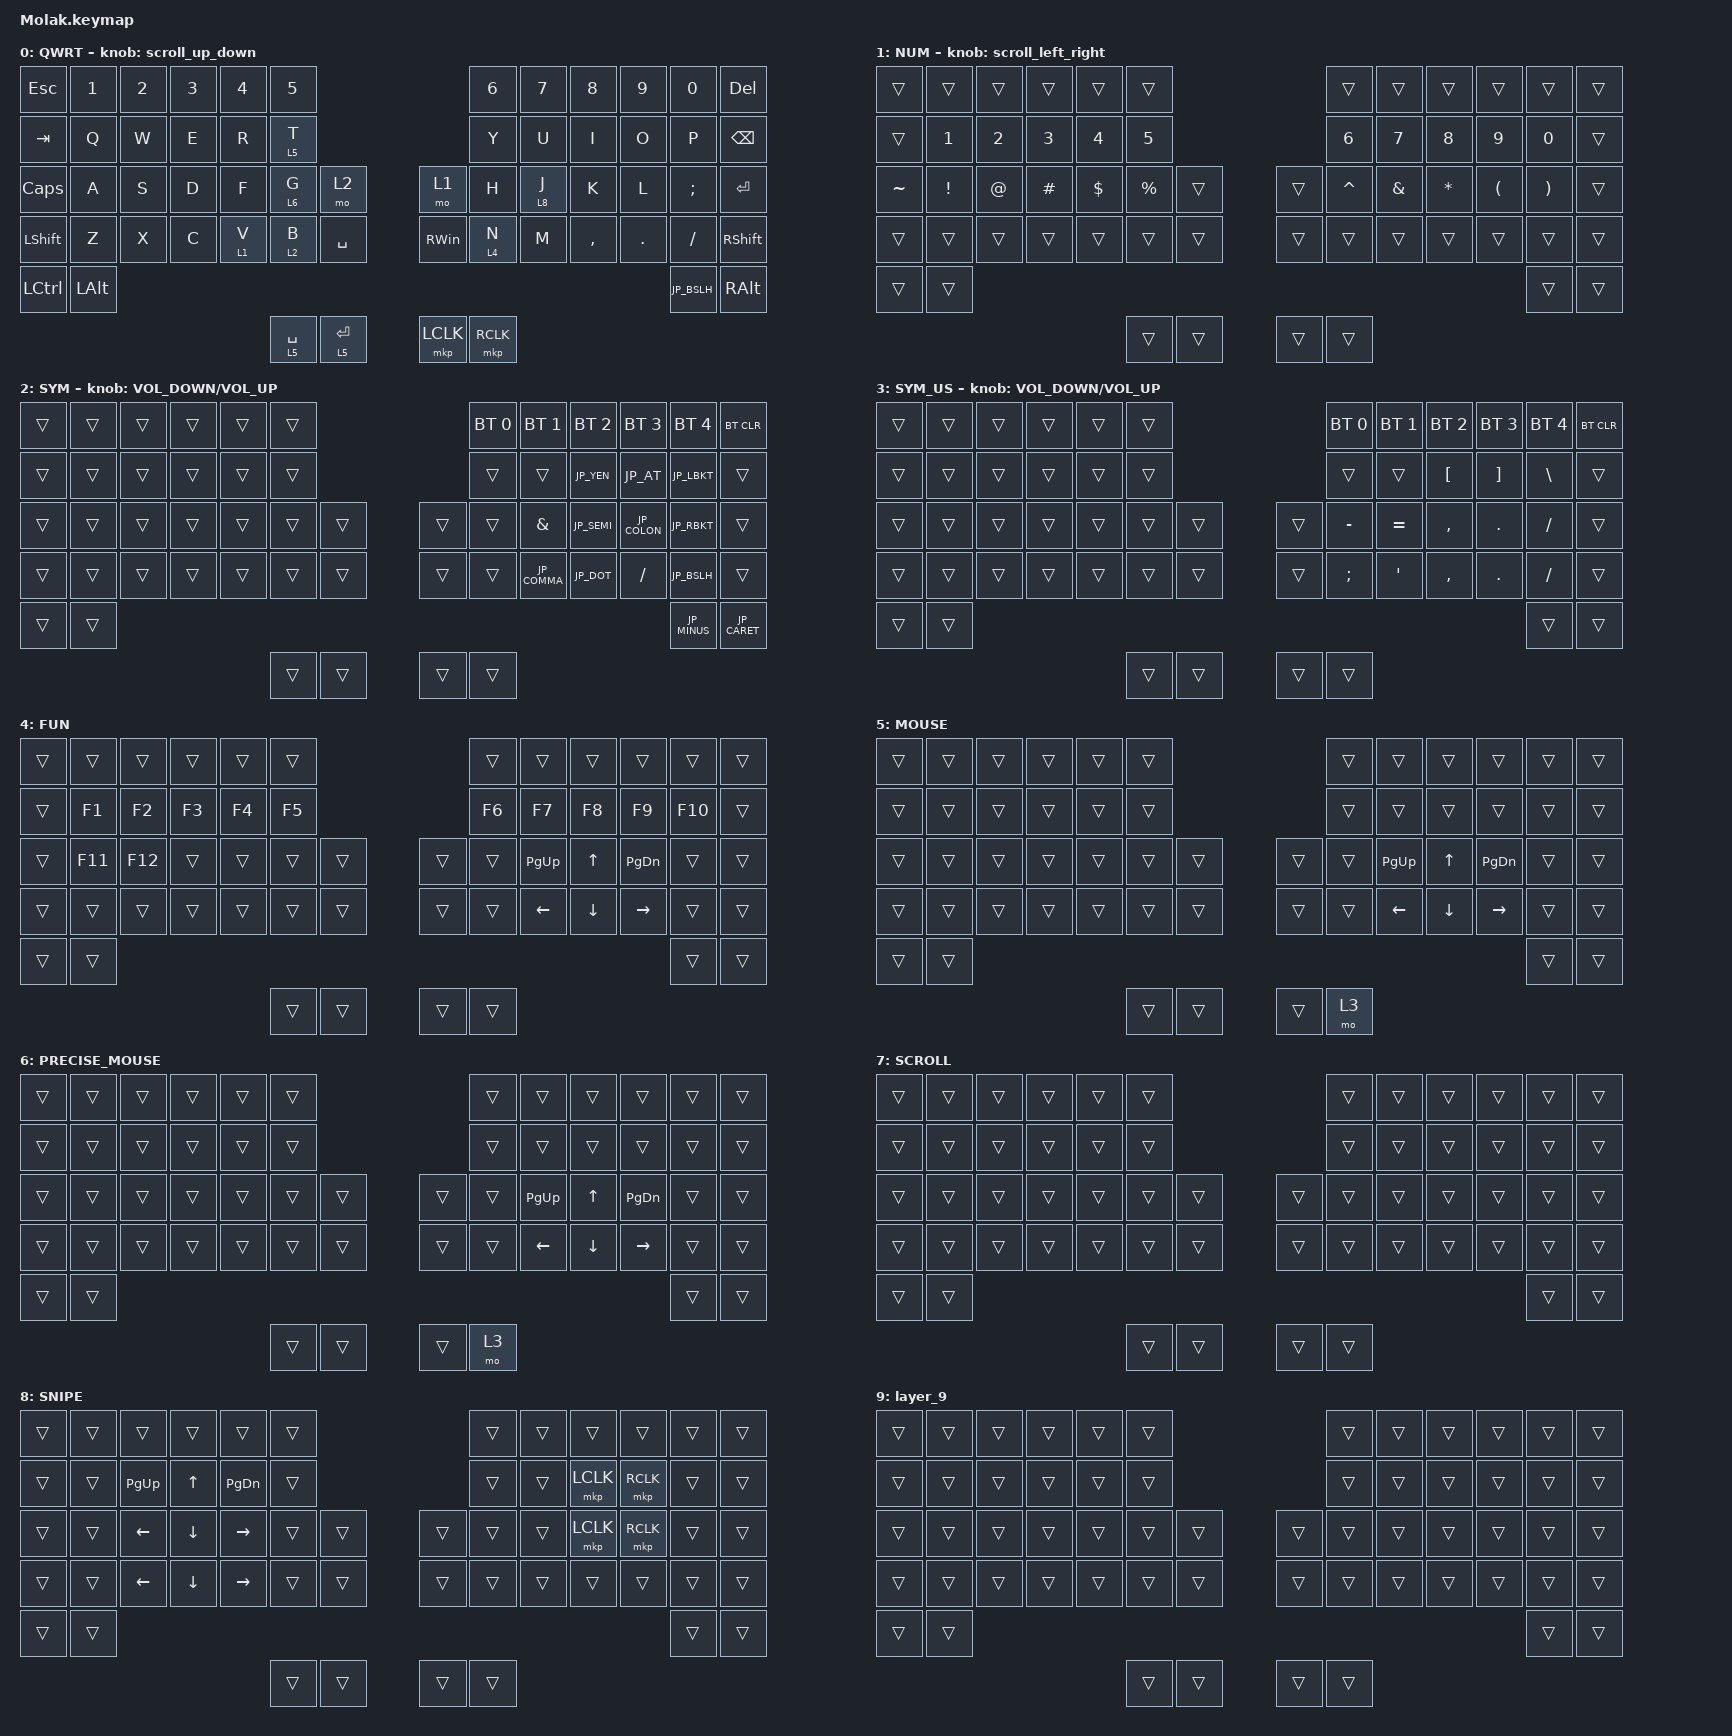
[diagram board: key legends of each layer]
#define DEFAULT 0
#define NUM     1
#define SYM     2
#define SYM_US  3
#define FUN     4
#define MOUSE   5
#define PRECISE_MOUSE 6
#define SCROLL  7
#define SNIPE   8

#include <behaviors/mouse_keys.dtsi>
#include <dt-bindings/zmk/mouse.h>

#define ZMK_POINTING_DEFAULT_SCRL_VAL 120

#include <behaviors.dtsi>
#include <dt-bindings/zmk/bt.h>
#include <dt-bindings/zmk/keys.h>
#include <dt-bindings/zmk/pointing.h>
#include "keycode_jp.h"

&lt {
    tapping-term-ms = <240>;
    flavor = "balanced";
    quick-tap-ms = <150>;
};

&mt {
    tapping-term-ms = <200>;
    flavor = "tap-preferred";
    quick-tap-ms = <150>;
};

/ {
    keymap {
        compatible = "zmk,keymap";

        default_layer {
            label = "QWRT";
            bindings = <
&kp ESC         &kp N1    &kp N2  &kp N3  &kp N4   &kp N5                               &kp N6     &kp N7   &kp N8     &kp N9   &kp N0       &kp DELETE
&kp TAB         &kp Q     &kp W   &kp E   &kp R    &lt 5 T                              &kp Y      &kp U    &kp I      &kp O    &kp P        &kp BSPC
&kp CAPS        &kp A     &kp S   &kp D   &kp F    &lt 6 G      &mo 2        &mo 1      &kp H      &lt 8 J  &kp K      &kp L    &kp SEMI     &kp ENTER
&kp LEFT_SHIFT  &kp Z     &kp X   &kp C   &lt 1 V  &lt 2 B      &kp SPACE    &kp RWIN   &lt 4 N    &kp M    &kp COMMA  &kp DOT  &kp FSLH     &kp RIGHT_SHIFT
&kp LCTL        &kp LALT                           &lt 5 SPACE  &lt 5 ENTER  &mkp LCLK  &mkp RCLK                               &kp JP_BSLH  &kp RIGHT_ALT
            >;

            sensor-bindings = <&scroll_up_down>;
        };

        number_layer {
            bindings = <
&trans     &trans           &trans       &trans    &trans      &trans                       &trans     &trans         &trans        &trans                &trans                 &trans
&trans     &kp N1           &kp N2       &kp N3    &kp N4      &kp N5                       &kp N6     &kp N7         &kp N8        &kp N9                &kp N0                 &trans
&kp TILDE  &kp EXCLAMATION  &kp AT_SIGN  &kp HASH  &kp DOLLAR  &kp PERCENT  &trans  &trans  &kp CARET  &kp AMPERSAND  &kp ASTERISK  &kp LEFT_PARENTHESIS  &kp RIGHT_PARENTHESIS  &trans
&trans     &trans           &trans       &trans    &trans      &trans       &trans  &trans  &trans     &trans         &trans        &trans                &trans                 &trans
&trans     &trans                                              &trans       &trans  &trans  &trans                                                        &trans                 &trans
            >;

            sensor-bindings = <&scroll_left_right>;
            label = "NUM";
        };

        symbol_layer {
            label = "SYM";
            bindings = <
&trans  &trans  &trans  &trans  &trans  &trans                  &bt BT_SEL 0  &bt BT_SEL 1   &bt BT_SEL 2  &bt BT_SEL 3  &bt BT_SEL 4  &bt BT_CLR
&trans  &trans  &trans  &trans  &trans  &trans                  &trans        &trans         &kp JP_YEN    &kp JP_AT     &kp JP_LBKT   &trans
&trans  &trans  &trans  &trans  &trans  &trans  &trans  &trans  &trans        &kp AMPERSAND  &kp JP_SEMI   &kp JP_COLON  &kp JP_RBKT   &trans
&trans  &trans  &trans  &trans  &trans  &trans  &trans  &trans  &trans        &kp JP_COMMA   &kp JP_DOT    &kp SLASH     &kp JP_BSLH   &trans
&trans  &trans                          &trans  &trans  &trans  &trans                                                   &kp JP_MINUS  &kp JP_CARET
            >;

            sensor-bindings = <&inc_dec_kp C_VOLUME_DOWN C_VOLUME_UP>;
        };

        symbol_us_layer {
            label = "SYM_US";
            bindings = <
&trans  &trans  &trans  &trans  &trans  &trans                  &bt BT_SEL 0   &bt BT_SEL 1  &bt BT_SEL 2  &bt BT_SEL 3  &bt BT_SEL 4  &bt BT_CLR
&trans  &trans  &trans  &trans  &trans  &trans                  &trans         &trans        &kp LBKT      &kp RBKT      &kp BSLH      &trans
&trans  &trans  &trans  &trans  &trans  &trans  &trans  &trans  &kp MINUS      &kp EQUAL     &kp COMMA     &kp DOT       &kp FSLH      &trans
&trans  &trans  &trans  &trans  &trans  &trans  &trans  &trans  &kp SEMICOLON  &kp SQT       &kp COMMA     &kp DOT       &kp FSLH      &trans
&trans  &trans                          &trans  &trans  &trans  &trans                                                   &trans        &trans
            >;

            sensor-bindings = <&inc_dec_kp C_VOLUME_DOWN C_VOLUME_UP>;
        };

        function_layer {
            label = "FUN";
            bindings = <
&trans  &trans   &trans   &trans  &trans  &trans                  &trans  &trans     &trans        &trans         &trans   &trans
&trans  &kp F1   &kp F2   &kp F3  &kp F4  &kp F5                  &kp F6  &kp F7     &kp F8        &kp F9         &kp F10  &trans
&trans  &kp F11  &kp F12  &trans  &trans  &trans  &trans  &trans  &trans  &kp PG_UP  &kp UP_ARROW  &kp PAGE_DOWN  &trans   &trans
&trans  &trans   &trans   &trans  &trans  &trans  &trans  &trans  &trans  &kp LEFT   &kp DOWN      &kp RIGHT      &trans   &trans
&trans  &trans                            &trans  &trans  &trans  &trans                                          &trans   &trans
            >;
        };

        mouse_layer {
            label = "MOUSE";
            bindings = <
&trans  &trans  &trans  &trans  &trans  &trans                  &trans  &trans     &trans        &trans         &trans  &trans
&trans  &trans  &trans  &trans  &trans  &trans                  &trans  &trans     &trans        &trans         &trans  &trans
&trans  &trans  &trans  &trans  &trans  &trans  &trans  &trans  &trans  &kp PG_UP  &kp UP_ARROW  &kp PAGE_DOWN  &trans  &trans
&trans  &trans  &trans  &trans  &trans  &trans  &trans  &trans  &trans  &kp LEFT   &kp DOWN      &kp RIGHT      &trans  &trans
&trans  &trans                          &trans  &trans  &trans  &mo 3                                           &trans  &trans
            >;
        };

        precise_mouse_layer {
            label = "PRECISE_MOUSE";
            bindings = <
&trans  &trans  &trans  &trans  &trans  &trans                  &trans  &trans     &trans        &trans         &trans  &trans
&trans  &trans  &trans  &trans  &trans  &trans                  &trans  &trans     &trans        &trans         &trans  &trans
&trans  &trans  &trans  &trans  &trans  &trans  &trans  &trans  &trans  &kp PG_UP  &kp UP_ARROW  &kp PAGE_DOWN  &trans  &trans
&trans  &trans  &trans  &trans  &trans  &trans  &trans  &trans  &trans  &kp LEFT   &kp DOWN      &kp RIGHT      &trans  &trans
&trans  &trans                          &trans  &trans  &trans  &mo 3                                           &trans  &trans
            >;
        };

        scroll_layer {
            label = "SCROLL";
            bindings = <
&trans  &trans  &trans  &trans  &trans  &trans                  &trans  &trans  &trans  &trans  &trans  &trans
&trans  &trans  &trans  &trans  &trans  &trans                  &trans  &trans  &trans  &trans  &trans  &trans
&trans  &trans  &trans  &trans  &trans  &trans  &trans  &trans  &trans  &trans  &trans  &trans  &trans  &trans
&trans  &trans  &trans  &trans  &trans  &trans  &trans  &trans  &trans  &trans  &trans  &trans  &trans  &trans
&trans  &trans                          &trans  &trans  &trans  &trans                          &trans  &trans
            >;
        };

        snipe_layer {
            label = "SNIPE";
            bindings = <
&trans  &trans  &trans     &trans        &trans         &trans                  &trans  &trans  &trans     &trans     &trans  &trans
&trans  &trans  &kp PG_UP  &kp UP_ARROW  &kp PAGE_DOWN  &trans                  &trans  &trans  &mkp LCLK  &mkp RCLK  &trans  &trans
&trans  &trans  &kp LEFT   &kp DOWN      &kp RIGHT      &trans  &trans  &trans  &trans  &trans  &mkp LCLK  &mkp RCLK  &trans  &trans
&trans  &trans  &kp LEFT   &kp DOWN      &kp RIGHT      &trans  &trans  &trans  &trans  &trans  &trans     &trans     &trans  &trans
&trans  &trans                                          &trans  &trans  &trans  &trans                                &trans  &trans
            >;
        };

        layer_9 {
            bindings = <
&trans  &trans  &trans  &trans  &trans  &trans                  &trans  &trans  &trans  &trans  &trans  &trans
&trans  &trans  &trans  &trans  &trans  &trans                  &trans  &trans  &trans  &trans  &trans  &trans
&trans  &trans  &trans  &trans  &trans  &trans  &trans  &trans  &trans  &trans  &trans  &trans  &trans  &trans
&trans  &trans  &trans  &trans  &trans  &trans  &trans  &trans  &trans  &trans  &trans  &trans  &trans  &trans
&trans  &trans                          &trans  &trans  &trans  &trans                          &trans  &trans
            >;
        };
    };

    behaviors {
        scroll_up_down: behavior_sensor_rotate_mouse_wheel_up_down {
            compatible = "zmk,behavior-sensor-rotate";
            #sensor-binding-cells = <0>;
            bindings = <&msc SCRL_UP>, <&msc SCRL_DOWN>;

            tap-ms = <20>;
        };

        scroll_left_right: behavior_sensor_rotate_mouse_wheel_left_right {
            compatible = "zmk,behavior-sensor-rotate";
            #sensor-binding-cells = <0>;
            bindings = <&msc SCRL_RIGHT>, <&msc SCRL_LEFT>;

            tap-ms = <20>;
        };

        w_r_alt_p: win-right-alt-positive {
            compatible = "zmk,behavior-mod-morph";
            #binding-cells = <0>;
            bindings = <&kp 0>, <&kp RIGHT>;

            mods = <(MOD_RALT)>;
            keep-mods = <(MOD_RALT)>;
        };

        w_alt_p: win-alt-positive {
            compatible = "zmk,behavior-mod-morph";
            #binding-cells = <0>;
            bindings = <&w_r_alt_p>, <&kp TAB>;

            mods = <(MOD_LALT)>;
            keep-mods = <(MOD_LALT)>;
        };

        w_r_gui_p: win-right-gui-positive {
            compatible = "zmk,behavior-mod-morph";
            #binding-cells = <0>;
            bindings = <&kp 0>, <&kp LC(RIGHT)>;

            mods = <(MOD_RGUI)>;
            keep-mods = <(MOD_RGUI)>;
        };

        w_gui_p: win-gui-positive {
            compatible = "zmk,behavior-mod-morph";
            #binding-cells = <0>;
            bindings = <&w_r_gui_p>, <&kp RIGHT>;

            mods = <(MOD_LGUI)>;
            keep-mods = <(MOD_LGUI)>;
        };

        w_alt_gui_p: win-alt-gui-positive {
            compatible = "zmk,behavior-mod-morph";
            #binding-cells = <0>;
            bindings = <&w_gui_p>, <&w_alt_p>;

            mods = <(MOD_LALT|MOD_RALT)>;
        };

        w_r_ctrl_p: win-right-ctrl-positive {
            compatible = "zmk,behavior-mod-morph";
            #binding-cells = <0>;
            bindings = <&kp 0>, <&kp TAB>;

            mods = <(MOD_RCTL)>;
            keep-mods = <(MOD_RCTL)>;
        };

        w_ctrl_p: win-ctrl-positive {
            compatible = "zmk,behavior-mod-morph";
            #binding-cells = <0>;
            bindings = <&w_r_ctrl_p>, <&kp DOWN>;

            mods = <(MOD_LCTL)>;
        };

        w_shift_p: win-shift-positive {
            compatible = "zmk,behavior-mod-morph";
            #binding-cells = <0>;
            bindings = <&none>, <&kp RIGHT>;

            mods = <(MOD_RSFT|MOD_LSFT)>;
        };

        w_shift_ctrl_p: win-shift-ctrl-positive {
            compatible = "zmk,behavior-mod-morph";
            #binding-cells = <0>;
            bindings = <&w_shift_p>, <&w_ctrl_p>;

            mods = <(MOD_LCTL|MOD_RCTL)>;
        };

        w_shift_ctrl_none_p: win_shift-ctrl-none-positive {
            compatible = "zmk,behavior-mod-morph";
            #binding-cells = <0>;
            bindings = <&kp C_VOL_UP>, <&w_shift_ctrl_p>;

            mods = <(MOD_LSFT|MOD_LCTL|MOD_RSFT|MOD_RCTL)>;
        };

        win_enc_p: win-enc-positive {
            compatible = "zmk,behavior-mod-morph";
            #binding-cells = <0>;
            bindings = <&w_shift_ctrl_none_p>, <&w_alt_gui_p>;

            mods = <(MOD_LALT|MOD_LGUI|MOD_RALT|MOD_RGUI)>;
        };

        w_r_alt_n: win-right-alt-negative {
            compatible = "zmk,behavior-mod-morph";
            #binding-cells = <0>;
            bindings = <&kp 0>, <&kp LEFT>;

            mods = <(MOD_RALT)>;
            keep-mods = <(MOD_RALT)>;
        };

        w_alt_n: win-alt-negative {
            compatible = "zmk,behavior-mod-morph";
            #binding-cells = <0>;
            bindings = <&w_r_alt_n>, <&kp LS(TAB)>;

            mods = <(MOD_LALT)>;
            keep-mods = <(MOD_LALT)>;
        };

        w_r_gui_n: win-right-gui-negative {
            compatible = "zmk,behavior-mod-morph";
            #binding-cells = <0>;
            bindings = <&kp 0>, <&kp LC(LEFT)>;

            mods = <(MOD_RGUI)>;
            keep-mods = <(MOD_RGUI)>;
        };

        w_gui_n: win-gui-negative {
            compatible = "zmk,behavior-mod-morph";
            #binding-cells = <0>;
            bindings = <&w_r_gui_n>, <&kp LEFT>;

            mods = <(MOD_LGUI)>;
            keep-mods = <(MOD_LGUI)>;
        };

        w_alt_gui_n: win-alt-gui-negative {
            compatible = "zmk,behavior-mod-morph";
            #binding-cells = <0>;
            bindings = <&w_gui_n>, <&w_alt_n>;

            mods = <(MOD_LALT|MOD_RALT)>;
        };

        w_r_ctrl_n: win-right-ctrl-negative {
            compatible = "zmk,behavior-mod-morph";
            #binding-cells = <0>;
            bindings = <&kp 0>, <&kp LS(TAB)>;

            mods = <(MOD_RCTL)>;
            keep-mods = <(MOD_RCTL)>;
        };

        w_ctrl_n: win-ctrl-negative {
            compatible = "zmk,behavior-mod-morph";
            #binding-cells = <0>;
            bindings = <&w_r_ctrl_n>, <&kp UP>;

            mods = <(MOD_LCTL)>;
        };

        w_shift_n: win-shift-negative {
            compatible = "zmk,behavior-mod-morph";
            #binding-cells = <0>;
            bindings = <&none>, <&kp LEFT>;

            mods = <(MOD_RSFT|MOD_LSFT)>;
        };

        w_shift_ctrl_n: win-shift-ctrl-negative {
            compatible = "zmk,behavior-mod-morph";
            #binding-cells = <0>;
            bindings = <&w_shift_n>, <&w_ctrl_n>;

            mods = <(MOD_LCTL|MOD_RCTL)>;
        };

        w_shift_ctrl_none_n: win_shift-ctrl-none-negative {
            compatible = "zmk,behavior-mod-morph";
            #binding-cells = <0>;
            bindings = <&kp C_VOL_DN>, <&w_shift_ctrl_n>;

            mods = <(MOD_LSFT|MOD_LCTL|MOD_RSFT|MOD_RCTL)>;
        };

        win_enc_n: win-enc-negative {
            compatible = "zmk,behavior-mod-morph";
            #binding-cells = <0>;
            bindings = <&w_shift_ctrl_none_n>, <&w_alt_gui_n>;

            mods = <(MOD_LALT|MOD_LGUI|MOD_RALT|MOD_RGUI)>;
        };

        win_enc: win-enc {
            compatible = "zmk,behavior-sensor-rotate";
            #sensor-binding-cells = <0>;
            bindings = <&win_enc_n>, <&win_enc_p>;

            tap-ms = <10>;
        };
    };
};
